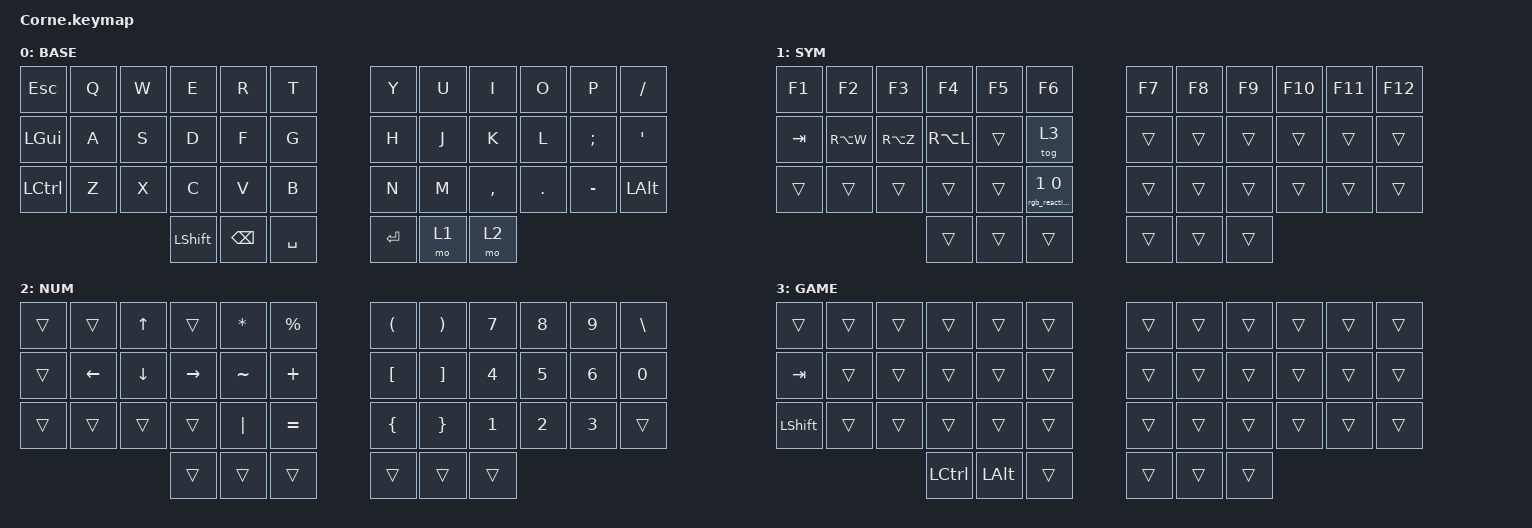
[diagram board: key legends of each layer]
/*
 * Simple Corne keymap — Norwegian (Norsk) host layout, Windows.
 *
 * Layer 0 (BASE) — plain QWERTY. On Norwegian OS, the SEMI/SQT keys
 * produce ø/æ automatically, so home-row right gives you those for free.
 * Layer 1 (SYM)  — F-row, brackets, digits 9/0, backslash.
 * Layer 2 (NUM)  — number row + inverted-T arrow cluster on right hand.
 * Layer 3 (GAME) — gaming overlay, toggled on/off with SYM + G.
 */

#include <behaviors.dtsi>
#include <dt-bindings/zmk/keys.h>
#include "layout/corne.dtsi"
#include "os/shared/nordic.dtsi"   // NO_AE, NO_OE, NO_AA aliases

/ {
    chosen { zmk,physical-layout = &default_layout; };

    behaviors {
        // Tap = /, hold 1s = toggle target layer.
        // On layer 3 the same position is &trans, so it falls through to
        // this binding on BASE — another 1s hold toggles layer 3 back off.
    };

    keymap {
        compatible = "zmk,keymap";

        base_layer {
            display-name = "BASE";
            bindings = <
&kp ESC       &kp Q  &kp W  &kp E           &kp R     &kp T      &kp Y    &kp U  &kp I      &kp O    &kp P      &kp SLASH
&kp LEFT_GUI  &kp A  &kp S  &kp D           &kp F     &kp G      &kp H    &kp J  &kp K      &kp L    &kp SEMI   &kp SQT
&kp LCTRL     &kp Z  &kp X  &kp C           &kp V     &kp B      &kp N    &kp M  &kp COMMA  &kp DOT  &kp MINUS  &kp LEFT_ALT
                            &kp LEFT_SHIFT  &kp BSPC  &kp SPACE  &kp RET  &mo 1  &mo 2
            >;
        };

        sym_layer {
            display-name = "SYM";

            // Norwegian-Windows keycodes:
            //   { = RA(N7)   } = RA(N0)
            //   [ = RA(N8)   ] = RA(N9)
            //   \ = RA(NON_US_BSLH)   (AltGr + < on Norwegian ISO)
            //
            // &rgb_reactive 1 0 = RGB_RX_CMD_TOGGLE (see rgb_reactive.h):
            // flips the LED strip on/off on both halves via the GLOBAL
            // behavior. Replaced the old &bt BT_CLR here (dongle now owns
            // the host link, so profile-clearing on the halves is moot).
            //
            // &tog 3 (G position) toggles the GAME layer. GAME leaves this
            // position &trans, so SYM + G turns it back off.

            bindings = <
&kp F1   &kp F2     &kp F3     &kp F4     &kp F5  &kp F6             &kp F7  &kp F8  &kp F9  &kp F10  &kp F11  &kp F12
&kp TAB  &kp RA(W)  &kp RA(Z)  &kp RA(L)  &trans  &tog 3             &trans  &trans  &trans  &trans   &trans   &trans
&trans   &trans     &trans     &trans     &trans  &rgb_reactive 1 0  &trans  &trans  &trans  &trans   &trans   &trans
                               &trans     &trans  &trans             &trans  &trans  &trans
            >;
        };

        num_layer {
            display-name = "NUM";

            // Right-hand inverted-T arrow cluster on K/J,K,L (cols 7,8,9):
            //          UP
            //   LEFT  DOWN  RIGHT

            bindings = <
&trans  &trans    &kp UP_ARROW    &trans           &kp STAR   &kp PERCENT  &kp LEFT_PARENTHESIS  &kp RIGHT_PARENTHESIS  &kp NUMBER_7  &kp NUMBER_8  &kp NUMBER_9  &kp BACKSLASH
&trans  &kp LEFT  &kp DOWN_ARROW  &kp RIGHT_ARROW  &kp TILDE  &kp PLUS     &kp LEFT_BRACKET      &kp RIGHT_BRACKET      &kp NUMBER_4  &kp NUMBER_5  &kp NUMBER_6  &kp NUMBER_0
&trans  &trans    &trans          &trans           &kp PIPE   &kp EQUAL    &kp LEFT_BRACE        &kp RIGHT_BRACE        &kp NUMBER_1  &kp NUMBER_2  &kp NUMBER_3  &trans
                                  &trans           &trans     &trans       &trans                &trans                 &trans
            >;
        };

        game_layer {
            display-name = "GAME";

            // Left-hand gaming overlay (right hand is on the mouse):
            //   - LEFT_GUI -> TAB, so the Windows key can't kick you out of a game
            //   - pinky column: ESC / TAB / SHIFT; Ctrl + Alt on the outer thumbs
            //   - SPACE stays on the inner thumb, WASD etc. fall through to BASE
            // Everything else is &trans; the right thumbs still reach SYM/NUM,
            // and SYM + G (&tog 3) turns this layer off again.

            bindings = <
&trans          &trans  &trans  &trans  &trans  &trans  &trans  &trans  &trans  &trans  &trans  &trans
&kp TAB         &trans  &trans  &trans  &trans  &trans  &trans  &trans  &trans  &trans  &trans  &trans
&kp LEFT_SHIFT  &trans  &trans  &trans  &trans  &trans  &trans  &trans  &trans  &trans  &trans  &trans
                                &kp LCTRL  &kp LEFT_ALT  &trans  &trans  &trans  &trans
            >;
        };
    };
};
